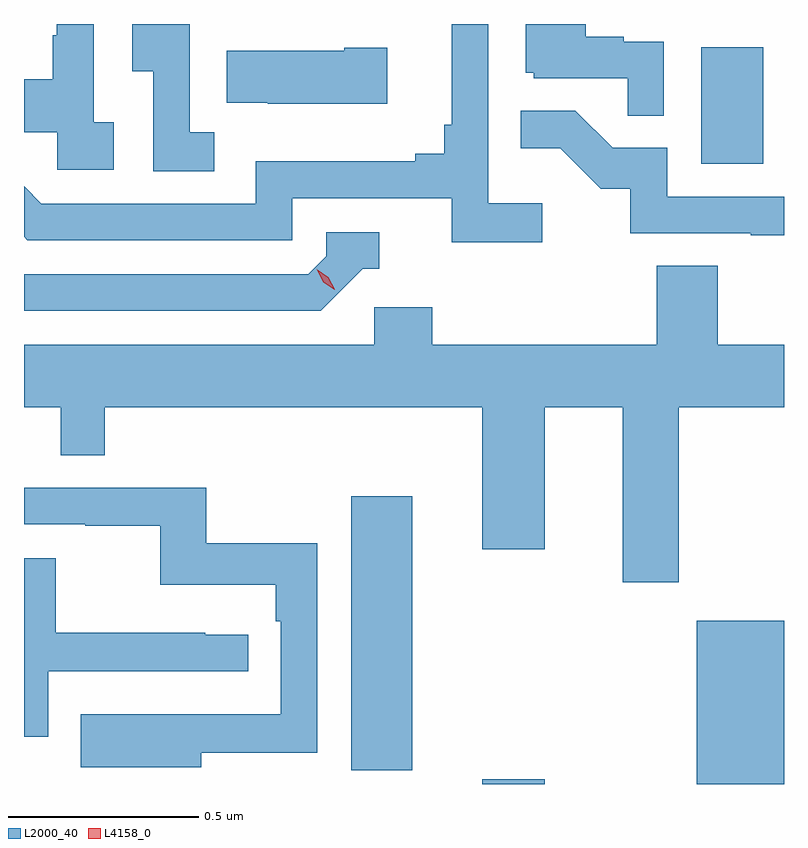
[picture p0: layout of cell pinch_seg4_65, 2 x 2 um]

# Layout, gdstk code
import gdstk
lib = gdstk.Library(unit=1e-6, precision=1e-09)
def R(c, l, rs):  # rectangles x0, y0, x1, y1
    for r in rs: c.add(gdstk.rectangle(r[:2], r[2:], *l))
def P(c, l, *ps):  # polygons
    for p in ps: c.add(gdstk.Polygon(p, *l))
L2000_40 = (2000, 40)
L4158_0 = (4158, 0)

pinch_seg4_65 = lib.new_cell('pinch_seg4_65')
R(pinch_seg4_65, L2000_40, [(1040.132,830.46,1040.296,830.473), (1040.696,830.46,1040.926,830.89), (1039.787,830.496,1039.948,831.217), (1040.708,832.092,1040.872,832.399)])
P(pinch_seg4_65, L2000_40, [(1040.29,831.988),(1040.148,831.988),(1040.148,832.46),(1040.051,832.46),(1040.051,832.195),(1040.032,832.195),(1040.032,832.118),(1039.955,832.118),(1039.955,832.099),(1039.536,832.099),(1039.536,831.987),(1038.972,831.987),(1038.926,832.033),(1038.926,831.9),(1038.935,831.891),(1039.632,831.891),(1039.632,832.002),(1040.051,832.002),(1040.051,831.886),(1040.29,831.886)],
  [(1040.61,832.413),(1040.504,832.413),(1040.504,832.426),(1040.404,832.426),(1040.404,832.46),(1040.246,832.46),(1040.246,832.332),(1040.268,832.332),(1040.268,832.317),(1040.515,832.317),(1040.515,832.219),(1040.61,832.219)],
  [(1039.162,832.202),(1039.11,832.202),(1039.11,832.46),(1039.012,832.46),(1039.012,832.43),(1039.002,832.43),(1039.002,832.315),(1038.926,832.315),(1038.926,832.175),(1039.014,832.175),(1039.014,832.077),(1039.162,832.077)],
  [(1039.426,832.175),(1039.362,832.175),(1039.362,832.46),(1039.211,832.46),(1039.211,832.336),(1039.266,832.336),(1039.266,832.072),(1039.426,832.072)],
  [(1039.882,832.398),(1039.769,832.398),(1039.769,832.39),(1039.459,832.39),(1039.459,832.253),(1039.567,832.253),(1039.567,832.25),(1039.882,832.25)],
  [(1040.926,832.005),(1040.619,832.005),(1040.619,832.134),(1040.475,832.134),(1040.377,832.232),(1040.233,832.232),(1040.233,832.133),(1040.337,832.133),(1040.444,832.026),(1040.521,832.026),(1040.521,831.909),(1040.839,831.909),(1040.839,831.904),(1040.926,831.904)],
  [(1039.818,831.816),(1039.861,831.816),(1039.861,831.912),(1039.722,831.912),(1039.722,831.849),(1039.674,831.801),(1038.926,831.801),(1038.926,831.705),(1039.707,831.705)],
  [(1040.649,831.452),(1040.926,831.452),(1040.926,831.616),(1040.751,831.616),(1040.751,831.824),(1040.591,831.824),(1040.591,831.616),(1040,831.616),(1040,831.714),(1039.848,831.714),(1039.848,831.616),(1038.926,831.616),(1038.926,831.452),(1039.023,831.452),(1039.023,831.325),(1039.139,831.325),(1039.139,831.452),(1040.132,831.452),(1040.132,831.078),(1040.296,831.078),(1040.296,831.452),(1040.501,831.452),(1040.501,830.991),(1040.649,830.991)],
  [(1039.393,830.542),(1039.698,830.542),(1039.698,831.094),(1039.405,831.094),(1039.405,831.24),(1038.926,831.24),(1038.926,831.144),(1039.087,831.144),(1039.087,831.139),(1039.284,831.139),(1039.284,830.984),(1039.589,830.984),(1039.589,830.888),(1039.602,830.888),(1039.602,830.643),(1039.289,830.643),(1039.289,830.644),(1039.075,830.644),(1039.075,830.504),(1039.393,830.504)],
  [(1038.99,830.757),(1039.516,830.757),(1039.516,830.853),(1039.403,830.853),(1039.403,830.858),(1039.01,830.858),(1039.01,831.054),(1038.926,831.054),(1038.926,830.585),(1038.99,830.585)])
P(pinch_seg4_65, L4158_0, [(1039.744,831.761),(1039.713,831.781),(1039.696,831.814),(1039.696,831.814),(1039.697,831.814),(1039.727,831.794),(1039.744,831.762),(1039.744,831.761)])

lib.write_gds('pinch_seg4_65.gds')
